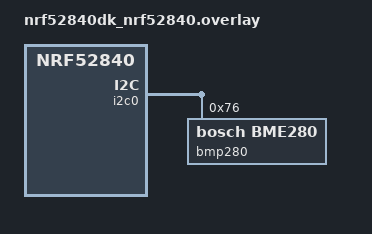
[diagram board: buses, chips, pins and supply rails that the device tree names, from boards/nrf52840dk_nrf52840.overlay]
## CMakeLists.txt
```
# SPDX-License-Identifier: Apache-2.0

cmake_minimum_required(VERSION 3.20.0)

find_package(Zephyr REQUIRED HINTS $ENV{ZEPHYR_BASE})
project(bmp280_ble)

target_sources(app PRIVATE src/main.c)
```

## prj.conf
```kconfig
CONFIG_LOG=y
CONFIG_SENSOR=y
CONFIG_I2C=y
CONFIG_BT=y
CONFIG_BT_BROADCASTER=y
CONFIG_BT_DEVICE_NAME="BMP280_BLE"
CONFIG_CBPRINTF_FP_SUPPORT=y
CONFIG_GPIO=y
```

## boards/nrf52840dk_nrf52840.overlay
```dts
&i2c0 {
    bmp280@76 {
        compatible = "bosch,bme280";
        reg = <0x76>;
    };
};

/ {
    aliases {
        work-i2c = &i2c0;
    };
};
```

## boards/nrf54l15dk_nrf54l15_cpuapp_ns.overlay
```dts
&i2c21 {
    compatible = "nordic,nrf-twim";
    status = "okay";
    pinctrl-0 = <&i2c21_default>;
    pinctrl-1 = <&i2c21_sleep>;
    pinctrl-names = "default", "sleep";

    bmp280: bmp280@76 {
        compatible = "bosch,bme280";
        reg = <0x76>;
        label = "BMP280";
    };
};

&pinctrl {
    i2c21_default: i2c21_default {
        group1 {
            psels = <NRF_PSEL(TWIM_SDA, 1, 12)>,
                    <NRF_PSEL(TWIM_SCL, 1, 11)>;
            bias-pull-up;
        };
    };

    i2c21_sleep: i2c21_sleep {
        group1 {
            psels = <NRF_PSEL(TWIM_SDA, 1, 12)>,
                    <NRF_PSEL(TWIM_SCL, 1, 11)>;
            low-power-enable;
        };
    };
};
```

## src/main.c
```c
#include <zephyr/kernel.h>
#include <zephyr/device.h>
#include <zephyr/drivers/sensor.h>
#include <zephyr/logging/log.h>
#include <zephyr/bluetooth/bluetooth.h>
#include <zephyr/bluetooth/hci.h>
#include <zephyr/drivers/gpio.h>

LOG_MODULE_REGISTER(bmp280_ble, LOG_LEVEL_INF);

static const struct bt_le_adv_param adv_param =
    BT_LE_ADV_PARAM_INIT(BT_LE_ADV_OPT_USE_IDENTITY,
                         BT_GAP_ADV_FAST_INT_MIN_2,
                         BT_GAP_ADV_FAST_INT_MAX_2,
                         NULL);

static uint8_t manuf_data[4];

static struct bt_data ad[] = {
    BT_DATA_BYTES(BT_DATA_FLAGS, BT_LE_AD_NO_BREDR),
    BT_DATA(BT_DATA_MANUFACTURER_DATA, manuf_data, sizeof(manuf_data)),
};

static const struct gpio_dt_spec led = GPIO_DT_SPEC_GET(DT_ALIAS(led0), gpios);
static const struct gpio_dt_spec button = GPIO_DT_SPEC_GET(DT_ALIAS(sw0), gpios);
static struct gpio_callback button_cb_data;
static struct k_work button_work;
static bool adv_enabled;

static const struct device *bmp280;

#define STACK_SIZE 1024
#define PRIORITY 5

void sensor_thread(void);
void blink_thread(void);

K_THREAD_DEFINE(sensor_tid, STACK_SIZE, sensor_thread, NULL, NULL, NULL,
                PRIORITY, 0, 0);
K_THREAD_DEFINE(blink_tid, STACK_SIZE, blink_thread, NULL, NULL, NULL,
                PRIORITY, 0, 0);

void button_work_handler(struct k_work *work)
{
    int err;

    if (adv_enabled) {
        err = bt_le_adv_stop();
        if (err) {
            LOG_ERR("Failed to stop advertising (%d)", err);
            return;
        }
        adv_enabled = false;
        LOG_INF("Advertising stopped");
    } else {
        err = bt_le_adv_start(&adv_param, ad, ARRAY_SIZE(ad), NULL, 0);
        if (err) {
            LOG_ERR("Failed to start advertising (%d)", err);
            return;
        }
        adv_enabled = true;
        LOG_INF("Advertising started");
    }
}

void button_pressed_isr(const struct device *dev, struct gpio_callback *cb,
                        uint32_t pins)
{
    k_work_submit(&button_work);
}

void sensor_thread(void)
{
    while (1) {
        if (!adv_enabled) {
            k_sleep(K_SECONDS(1));
            continue;
        }

        struct sensor_value temp, press;

        if (sensor_sample_fetch(bmp280) < 0) {
            LOG_ERR("Failed to fetch sample");
            k_sleep(K_SECONDS(1));
            continue;
        }

        sensor_channel_get(bmp280, SENSOR_CHAN_AMBIENT_TEMP, &temp);
        sensor_channel_get(bmp280, SENSOR_CHAN_PRESS, &press);

        int16_t temp_c = (int16_t)(sensor_value_to_double(&temp) * 100);
        uint16_t press_hpa = (uint16_t)sensor_value_to_double(&press);

        manuf_data[0] = temp_c >> 8;
        manuf_data[1] = temp_c & 0xFF;
        manuf_data[2] = press_hpa >> 8;
        manuf_data[3] = press_hpa & 0xFF;

        bt_le_adv_update_data(ad, ARRAY_SIZE(ad), NULL, 0);

        LOG_INF("Temp: %d.%02d C, Press: %d hPa", temp_c / 100, temp_c % 100,
                press_hpa);

        k_sleep(K_SECONDS(1));
    }
}

void blink_thread(void)
{
    while (1) {
        gpio_pin_toggle_dt(&led);
        k_msleep(500);
    }
}

int main(void)
{
    int err;

    bmp280 = DEVICE_DT_GET_ONE(bosch_bme280);

    if (!device_is_ready(bmp280) || !device_is_ready(led.port) ||
        !device_is_ready(button.port)) {
        LOG_ERR("Device not ready");
        return 0;
    }

    gpio_pin_configure_dt(&led, GPIO_OUTPUT_INACTIVE);
    gpio_pin_configure_dt(&button, GPIO_INPUT);
    gpio_pin_interrupt_configure_dt(&button, GPIO_INT_EDGE_TO_ACTIVE);
    gpio_init_callback(&button_cb_data, button_pressed_isr, BIT(button.pin));
    gpio_add_callback(button.port, &button_cb_data);

    k_work_init(&button_work, button_work_handler);

    err = bt_enable(NULL);
    if (err) {
        LOG_ERR("Bluetooth init failed (%d)", err);
        return 0;
    }

    LOG_INF("Bluetooth initialized");

    err = bt_le_adv_start(&adv_param, ad, ARRAY_SIZE(ad), NULL, 0);
    if (err) {
        LOG_ERR("Advertising failed to start (%d)", err);
        return 0;
    }

    adv_enabled = true;
    LOG_INF("Advertising started");

    while (1) {
        k_sleep(K_FOREVER);
    }
}
```
